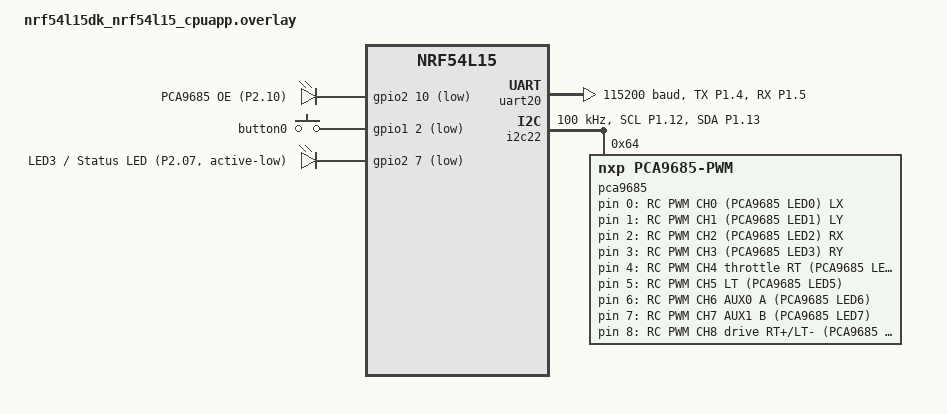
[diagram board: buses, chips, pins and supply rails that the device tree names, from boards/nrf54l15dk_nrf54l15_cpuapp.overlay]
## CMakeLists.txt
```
#
# Copyright (c) 2018 Nordic Semiconductor
#
# SPDX-License-Identifier: LicenseRef-Nordic-5-Clause
#
cmake_minimum_required(VERSION 3.20.0)

find_package(Zephyr REQUIRED HINTS $ENV{ZEPHYR_BASE})
project(esb_prx)

target_include_directories(app PRIVATE ../common)

# PRX keeps local flash so it can rejoin after power-cycle without Hub UART.
target_compile_definitions(app PRIVATE
  ESB_RADIO_SUBTREE=\"esb_prx\"
  ESB_RADIO_MODE=ESB_MODE_PRX
  RC_ESB_RADIO_PERSIST=1
)

target_sources(app PRIVATE
  src/main.c
  src/rc_prx_channels.c
  src/rc_prx_pwm.c
  src/rc_prx_status_led.c
  src/rc_uart_bridge.c
  ../common/rc_link.c
  ../common/rc_channel_bank.c
  ../common/uart_rc_link.c
  ../common/rc_esb_radio.c
  ../common/rc_uart_esb_req_work.c
  ../common/rc_uart_log_fwd.c
  ../common/rc_uart_config_bridge.c
)
```

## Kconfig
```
#
# Copyright (c) 2020 Nordic Semiconductor
#
# SPDX-License-Identifier: LicenseRef-Nordic-5-Clause
#

source "Kconfig.zephyr"

menu "Enhanced ShockBurst: Receiver"

config ESB_PRX_APP_LOG_LEVEL
	int "Log level for the ESB PRX sample"
	default 4

config RC_PCA9685_OSC_HZ
	int "PCA9685 internal oscillator frequency (Hz)"
	default 27700000
	help
	  Datasheet nominal is 25 MHz, but the internal OSC is inaccurate.
	  With the Zephyr driver assuming 25 MHz and a 20 ms period
	  (PRE_SCALE≈122), this board measured ~55 Hz on the scope.
	  Default 27.7 MHz is calibrated so update rate ≈ 50 Hz
	  (55/50 × 25 MHz). Re-measure and adjust if needed:
	  OSC ≈ f_meas × 4096 × (PRE_SCALE + 1).

endmenu
```

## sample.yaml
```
sample:
  name: ESB prx
tests:
  sample.esb.prx.build:
    sysbuild: true
    build_only: true
    integration_platforms:
      - nrf54l15dk/nrf54l15/cpuapp
    platform_allow:
      - nrf54l15dk/nrf54l15/cpuapp
    tags:
      - esb
      - ci_build
      - sysbuild
```

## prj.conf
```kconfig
#
# Copyright (c) 2019 Nordic Semiconductor ASA
#
# SPDX-License-Identifier: LicenseRef-Nordic-5-Clause
#
CONFIG_NCS_SAMPLES_DEFAULTS=y
CONFIG_ESB=y
CONFIG_DK_LIBRARY=y
CONFIG_CLOCK_CONTROL=y

# Required for ESB on nRF54L15 (DPPIC instance 10).
CONFIG_NRFX_DPPI10=y

# Console UART is shared with the Hub RC link (HUART-RC protocol).
CONFIG_UART_INTERRUPT_DRIVEN=y
CONFIG_SETTINGS=y
CONFIG_ZMS=y
CONFIG_SETTINGS_ZMS=y
CONFIG_PM_PARTITION_SIZE_SETTINGS_STORAGE=0x2000
CONFIG_FLASH=y
CONFIG_FLASH_MAP=y
CONFIG_ENTROPY_GENERATOR=y

# Required by rc_uart_log_fwd custom log backend.
CONFIG_LOG_MODE_DEFERRED=y
CONFIG_LOG_OUTPUT=y

# RC servo/ESC PWM via PCA9685 (I2C). Driver selected by DT (nxp,pca9685-pwm).
CONFIG_I2C=y
CONFIG_GPIO=y
CONFIG_PWM=y
# Calibrated for this board (~55 Hz measured when assuming 25 MHz). See Kconfig.
CONFIG_RC_PCA9685_OSC_HZ=27700000

# P1.02/P1.03 default to NFC; release them so Btn1 (pair clear) on P1.02 is a real GPIO.
CONFIG_NFCT_PINS_AS_GPIOS=y
```

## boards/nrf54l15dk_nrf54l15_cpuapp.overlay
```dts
/*
 * SPDX-License-Identifier: LicenseRef-Nordic-5-Clause
 *
 * Console / Hub RC link on uart20: TX/RX only (no hardware flow control).
 * RC PWM via PCA9685 on i2c22 (SCL P1.12, SDA P1.13).
 *
 * PCA9685 address: A2=1 A5=1 → 0x40 | BIT(2) | BIT(5) = 0x64.
 * OE (active-low) on P2.10 — driven low in rc_prx_pwm_init to enable outputs.
 * I2C pins match xbox_central BQ25895 (SCL P1.12, SDA P1.13).
 */

#include <zephyr/dt-bindings/gpio/gpio.h>
#include <zephyr/dt-bindings/i2c/i2c.h>
#include <zephyr/dt-bindings/pwm/pwm.h>

&pinctrl {
	uart20_default: uart20_default {
		group1 {
			psels = <NRF_PSEL(UART_TX, 1, 4)>;
		};

		group2 {
			psels = <NRF_PSEL(UART_RX, 1, 5)>;
			bias-pull-up;
		};
	};

	uart20_sleep: uart20_sleep {
		group1 {
			psels = <NRF_PSEL(UART_TX, 1, 4)>,
				<NRF_PSEL(UART_RX, 1, 5)>;
			low-power-enable;
		};
	};

	i2c22_default: i2c22_default {
		group1 {
			psels = <NRF_PSEL(TWIM_SCL, 1, 12)>,
				<NRF_PSEL(TWIM_SDA, 1, 13)>;
			bias-pull-up;
		};
	};

	i2c22_sleep: i2c22_sleep {
		group1 {
			psels = <NRF_PSEL(TWIM_SCL, 1, 12)>,
				<NRF_PSEL(TWIM_SDA, 1, 13)>;
			low-power-enable;
			bias-pull-up;
		};
	};
};

&uart20 {
	current-speed = <115200>;
	pinctrl-0 = <&uart20_default>;
	pinctrl-1 = <&uart20_sleep>;
	pinctrl-names = "default", "sleep";
};

/* SoC PWM no longer used — outputs come from PCA9685. */
&pwm20 {
	status = "disabled";
};

&pwm21 {
	status = "disabled";
};

&i2c22 {
	status = "okay";
	pinctrl-0 = <&i2c22_default>;
	pinctrl-1 = <&i2c22_sleep>;
	pinctrl-names = "default", "sleep";
	clock-frequency = <I2C_BITRATE_STANDARD>;

	pca9685: pca9685@64 {
		compatible = "nxp,pca9685-pwm";
		reg = <0x64>;
		status = "okay";
		#pwm-cells = <2>;
		/* Init from rc_prx_pwm_init() after DK button pins are remapped. */
		zephyr,deferred-init;
	};
};

/*
 * Pair-clear button on P1.02 (Btn1). DK SW0 defaults to P1.13 (= I2C SDA),
 * so move it here. P1.02 is NFC1 by default — release via &uicr below.
 */
&button0 {
	gpios = <&gpio1 2 (GPIO_PULL_UP | GPIO_ACTIVE_LOW)>;
};

&uicr {
	nfct-pins-as-gpios;
};

/*
 * Override DK LED3 (DT: led2, P2.07): external status LED is active-low.
 */
&led2 {
	gpios = <&gpio2 7 GPIO_ACTIVE_LOW>;
	label = "LED3 / Status LED (P2.07, active-low)";
};

/ {
	aliases {
		pca9685 = &pca9685;
		/* DK LED3 @ P2.07 — system status (idle slow / CTRL fast / pair rapid). */
		status-led = &led2;
	};

	/*
	 * PCA9685 /OE is active-low. gpio-leds + ACTIVE_LOW means
	 * gpio_pin_set_dt(..., 1) drives the pin low (outputs enabled).
	 */
	pca9685_ctrl {
		compatible = "gpio-leds";

		pca9685_oe: pca9685_oe {
			gpios = <&gpio2 10 GPIO_ACTIVE_LOW>;
			label = "PCA9685 OE (P2.10)";
		};
	};

	rc_pwms {
		compatible = "pwm-leds";

		rc_pwm0: rc_pwm_0 {
			pwms = <&pca9685 0 PWM_USEC(20000)>;
			label = "RC PWM CH0 (PCA9685 LED0) LX";
		};

		rc_pwm1: rc_pwm_1 {
			pwms = <&pca9685 1 PWM_USEC(20000)>;
			label = "RC PWM CH1 (PCA9685 LED1) LY";
		};

		rc_pwm2: rc_pwm_2 {
			pwms = <&pca9685 2 PWM_USEC(20000)>;
			label = "RC PWM CH2 (PCA9685 LED2) RX";
		};

		rc_pwm3: rc_pwm_3 {
			pwms = <&pca9685 3 PWM_USEC(20000)>;
			label = "RC PWM CH3 (PCA9685 LED3) RY";
		};

		rc_pwm4: rc_pwm_4 {
			pwms = <&pca9685 4 PWM_USEC(20000)>;
			label = "RC PWM CH4 throttle RT (PCA9685 LED4)";
		};

		rc_pwm5: rc_pwm_5 {
			pwms = <&pca9685 5 PWM_USEC(20000)>;
			label = "RC PWM CH5 LT (PCA9685 LED5)";
		};

		rc_pwm6: rc_pwm_6 {
			pwms = <&pca9685 6 PWM_USEC(20000)>;
			label = "RC PWM CH6 AUX0 A (PCA9685 LED6)";
		};

		rc_pwm7: rc_pwm_7 {
			pwms = <&pca9685 7 PWM_USEC(20000)>;
			label = "RC PWM CH7 AUX1 B (PCA9685 LED7)";
		};

		rc_pwm8: rc_pwm_8 {
			pwms = <&pca9685 8 PWM_USEC(20000)>;
			label = "RC PWM CH8 drive RT+/LT- (PCA9685 LED8)";
		};
	};
};
```

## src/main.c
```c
/*
 * Copyright (c) 2018 Nordic Semiconductor ASA
 *
 * SPDX-License-Identifier: LicenseRef-Nordic-5-Clause
 */
#include <string.h>

#include <zephyr/device.h>
#include <zephyr/devicetree.h>
#include <zephyr/drivers/clock_control.h>
#include <zephyr/drivers/clock_control/nrf_clock_control.h>
#include <zephyr/drivers/gpio.h>
#include <zephyr/irq.h>
#include <zephyr/logging/log.h>
#include <nrf.h>
#include <esb.h>
#include <zephyr/kernel.h>
#include <zephyr/types.h>
#include <dk_buttons_and_leds.h>
#if defined(CONFIG_CLOCK_CONTROL_NRF2)
#include <hal/nrf_lrcconf.h>
#endif
#include <nrf_erratas.h>
#if NRF54L_ERRATA_20_PRESENT
#include <hal/nrf_power.h>
#endif /* NRF54L_ERRATA_20_PRESENT */
#if defined(NRF54LM20A_ENGA_XXAA)
#include <hal/nrf_clock.h>
#endif /* defined(NRF54LM20A_ENGA_XXAA) */

#include "rc_channel_bank.h"
#include "rc_esb_radio.h"
#include "rc_link.h"
#include "rc_prx_channels.h"
#include "rc_prx_pwm.h"
#include "rc_prx_status_led.h"
#include "rc_uart_bridge.h"

LOG_MODULE_REGISTER(esb_prx, CONFIG_ESB_PRX_APP_LOG_LEVEL);

#define KEY_RADIO_CLEAR            DK_BTN1_MSK
#define RADIO_CLEAR_HOLD_TIME_MS  5000

static uint8_t status_seq;
static uint8_t last_ctrl_seq;
static uint8_t peer_ctrl_channels;
static bool pairing_mode;
static bool radio_clear_armed;
static bool last_ctrl_valid;
static uint8_t last_ctrl_count;
static uint16_t last_ctrl_channels[RC_LINK_MAX_CHANNELS];
static struct k_work_delayable radio_clear_work;
static struct k_work_delayable pair_apply_work;
static struct rc_link_pair_payload pending_pair_payload;
static bool pending_pair_valid;
static struct esb_payload rx_payload;
static struct esb_payload tx_payload;
static struct rc_link_frame status_frame;

/* Leave enough time for ESB ACK on the default address before switching. */
#define PAIR_APPLY_DELAY_MS 100

static void pairing_mode_set(bool enable)
{
	if (pairing_mode == enable) {
		return;
	}

	pairing_mode = enable;
	rc_prx_status_led_set_pairing(enable);
	if (enable) {
		LOG_INF("Pair mode ON — status LED rapid blink");
	}
}

static int queue_status_payload(void)
{
	int err;
	int len;

	err = rc_link_frame_fill(&status_frame, RC_LINK_TYPE_STATUS, status_seq++,
				 RC_STATUS_FLAG_ARMED, &rc_prx_status_bank);
	if (err) {
		return err;
	}

	len = rc_link_pack(&status_frame, tx_payload.data, sizeof(tx_payload.data));
	if (len < 0) {
		return len;
	}

	tx_payload.length = (uint8_t)len;
	tx_payload.pipe = RC_LINK_PIPE;
	tx_payload.noack = false;

	err = esb_write_payload(&tx_payload);
	if (err) {
		LOG_ERR("Status payload write failed: %d", err);
	}

	return err;
}

static void pair_apply_work_handler(struct k_work *work)
{
	int err;

	ARG_UNUSED(work);

	if (!pending_pair_valid) {
		return;
	}

	pending_pair_valid = false;
	err = rc_esb_radio_apply_pair_payload(&pending_pair_payload, true);
	if (err != 0) {
		LOG_ERR("Pair apply/save failed: %d", err);
		pairing_mode_set(true);
		return;
	}

	pairing_mode_set(false);
	LOG_WRN("Paired from first valid pair frame and saved");
}

static void handle_pair_frame(const struct rc_link_frame *frame)
{
	struct rc_link_pair_payload pair_payload;
	int err;

	if (!pairing_mode) {
		LOG_DBG("Ignore PAIR (not in pair mode)");
		return;
	}

	err = rc_link_pair_decode(frame, &pair_payload);
	if (err != 0) {
		LOG_DBG("Ignore invalid pair frame: %d", err);
		return;
	}

	/*
	 * Delay address switch so the ESB ACK for this PAIR frame completes on
	 * the default listen address. k_work_submit was ~1ms and broke PTX ACK.
	 */
	if (pending_pair_valid) {
		return;
	}

	pending_pair_payload = pair_payload;
	pending_pair_valid = true;
	pairing_mode_set(false);
	LOG_WRN("PAIR frame RX — apply in %d ms (after ACK)", PAIR_APPLY_DELAY_MS);
	(void)k_work_schedule(&pair_apply_work, K_MSEC(PAIR_APPLY_DELAY_MS));
}

static bool ctrl_channels_changed(const struct rc_link_frame *ctrl)
{
	uint8_t count = ctrl->channel_count;

	if (count > RC_LINK_MAX_CHANNELS) {
		count = RC_LINK_MAX_CHANNELS;
	}

	if (!last_ctrl_valid || last_ctrl_count != count) {
		return true;
	}

	return memcmp(last_ctrl_channels, ctrl->channels,
		      (size_t)count * sizeof(uint16_t)) != 0;
}

static void remember_ctrl_channels(const struct rc_link_frame *ctrl)
{
	uint8_t count = ctrl->channel_count;

	if (count > RC_LINK_MAX_CHANNELS) {
		count = RC_LINK_MAX_CHANNELS;
	}

	last_ctrl_count = count;
	memcpy(last_ctrl_channels, ctrl->channels, (size_t)count * sizeof(uint16_t));
	last_ctrl_valid = true;
}

static void handle_ctrl_frame(const struct rc_link_frame *ctrl)
{
	bool changed;

	if (ctrl->type != RC_LINK_TYPE_CTRL) {
		return;
	}

	last_ctrl_seq = ctrl->seq;

	if (peer_ctrl_channels != ctrl->channel_count) {
		peer_ctrl_channels = ctrl->channel_count;
		LOG_INF("Controller channel count: %u", peer_ctrl_channels);
	}

	rc_link_log_channels("Control", ctrl);
	rc_prx_pwm_apply_ctrl(ctrl);

	/*
	 * Keepalive (same channels) → solid idle LED.
	 * Channel change → brief flash once per active frame.
	 */
	changed = ctrl_channels_changed(ctrl);
	remember_ctrl_channels(ctrl);
	rc_prx_status_led_on_link();
	if (changed) {
		rc_prx_status_led_on_activity();
	}
}

static void handle_rx_frame(const struct esb_payload *payload)
{
	struct rc_link_frame frame;
	int err;

	err = rc_link_unpack(payload->data, payload->length, &frame);
	if (err != 0) {
		LOG_DBG("Ignore invalid RX frame: %d", err);
		return;
	}

	if (frame.type == RC_LINK_TYPE_PAIR) {
		handle_pair_frame(&frame);
		return;
	}

	handle_ctrl_frame(&frame);
}

static void radio_clear_work_handler(struct k_work *work)
{
	int err;
	ARG_UNUSED(work);

	radio_clear_armed = false;

	err = rc_esb_radio_clear_saved_config();
	if (err != 0) {
		LOG_ERR("Radio config clear failed: %d", err);
		return;
	}

	pairing_mode_set(true);
	LOG_INF("Radio config cleared, re-enter pair mode");
}

static void button_handler(uint32_t button_state, uint32_t has_changed)
{
	uint32_t changed = button_state & has_changed;

	if ((changed & KEY_RADIO_CLEAR) == 0U) {
		return;
	}

		if ((button_state & KEY_RADIO_CLEAR) != 0U) {
		radio_clear_armed = true;
		k_work_schedule(&radio_clear_work, K_MSEC(RADIO_CLEAR_HOLD_TIME_MS));
		LOG_INF("Hold Btn1 (P1.02) 5s to clear radio config");
	} else {
		radio_clear_armed = false;
		(void)k_work_cancel_delayable(&radio_clear_work);
	}
}

void event_handler(struct esb_evt const *event)
{
	switch (event->evt_id) {
	case ESB_EVENT_TX_SUCCESS:
		(void)queue_status_payload();
		break;
	case ESB_EVENT_TX_FAILED:
		LOG_DBG("ACK with status failed");
		break;
	case ESB_EVENT_RX_RECEIVED:
		while (esb_read_rx_payload(&rx_payload) == 0) {
			handle_rx_frame(&rx_payload);
		}
		break;
	default:
		break;
	}
}

#if defined(CONFIG_CLOCK_CONTROL_NRF)
int clocks_start(void)
{
	int err;
	int res;
	struct onoff_manager *clk_mgr;
	struct onoff_client clk_cli;

	clk_mgr = z_nrf_clock_control_get_onoff(CLOCK_CONTROL_NRF_SUBSYS_HF);
	if (!clk_mgr) {
		LOG_ERR("Unable to get the Clock manager");
		return -ENXIO;
	}

	sys_notify_init_spinwait(&clk_cli.notify);

	err = onoff_request(clk_mgr, &clk_cli);
	if (err < 0) {
		LOG_ERR("Clock request failed: %d", err);
		return err;
	}

	do {
		err = sys_notify_fetch_result(&clk_cli.notify, &res);
		if (!err && res) {
			LOG_ERR("Clock could not be started: %d", res);
			return res;
		}
	} while (err);

#if NRF54L_ERRATA_20_PRESENT
	if (nrf54l_errata_20()) {
		nrf_power_task_trigger(NRF_POWER, NRF_POWER_TASK_CONSTLAT);
	}
#endif /* NRF54L_ERRATA_20_PRESENT */

#if defined(NRF54LM20A_ENGA_XXAA)
	nrf_clock_task_trigger(NRF_CLOCK, NRF_CLOCK_TASK_PLLSTART);
#endif

	LOG_DBG("HF clock started");
	return 0;
}

#elif defined(CONFIG_CLOCK_CONTROL_NRF2)

int clocks_start(void)
{
	int err;
	int res;
	const struct device *radio_clk_dev =
		DEVICE_DT_GET_OR_NULL(DT_CLOCKS_CTLR(DT_NODELABEL(radio)));
	struct onoff_client radio_cli;

	nrf_lrcconf_poweron_force_set(NRF_LRCCONF010, NRF_LRCCONF_POWER_DOMAIN_1, true);

	sys_notify_init_spinwait(&radio_cli.notify);

	err = nrf_clock_control_request(radio_clk_dev, NULL, &radio_cli);

	do {
		err = sys_notify_fetch_result(&radio_cli.notify, &res);
		if (!err && res) {
			LOG_ERR("Clock could not be started: %d", res);
			return res;
		}
	} while (err == -EAGAIN);

	nrf_lrcconf_clock_always_run_force_set(NRF_LRCCONF000, 0, true);
	nrf_lrcconf_task_trigger(NRF_LRCCONF000, NRF_LRCCONF_TASK_CLKSTART_0);

	LOG_DBG("HF clock started");

	return 0;
}

#else
BUILD_ASSERT(false, "No Clock Control driver");
#endif /* defined(CONFIG_CLOCK_CONTROL_NRF2) */

int esb_initialize(void)
{
	return rc_esb_radio_init(event_handler);
}

static void on_radio_applied(void)
{
	(void)queue_status_payload();
}

int main(void)
{
	int err;

	LOG_INF("ESB receiver with bidirectional telemetry");

	rc_prx_channels_bind_ctrl_seq(&last_ctrl_seq);
	rc_esb_radio_set_applied_cb(on_radio_applied);

	err = clocks_start();
	if (err) {
		return 0;
	}

	err = dk_leds_init();
	if (err) {
		LOG_ERR("LEDs initialization failed, err %d", err);
		return 0;
	}

	err = rc_prx_status_led_init();
	if (err) {
		LOG_WRN("status LED init failed: %d", err);
	}

	k_work_init_delayable(&radio_clear_work, radio_clear_work_handler);
	k_work_init_delayable(&pair_apply_work, pair_apply_work_handler);
	radio_clear_armed = false;
	dk_buttons_init(button_handler);

	err = esb_initialize();
	if (err) {
		LOG_ERR("ESB initialization failed, err %d", err);
		return 0;
	}
	if (!rc_esb_radio_has_saved_config()) {
		pairing_mode_set(true);
		LOG_WRN("No saved radio config — pair mode ON (waiting ESB PAIR)");
	} else {
		pairing_mode = false;
		LOG_WRN("Saved radio config loaded — pair mode OFF (hold Btn1/P1.02 5s to clear)");
	}

	err = rc_uart_bridge_init();
	if (err) {
		LOG_ERR("UART bridge init failed, err %d", err);
		return 0;
	}

	err = rc_prx_pwm_init();
	if (err) {
		LOG_ERR("RC PWM init failed, err %d (ESB continues without PWM)", err);
	}

	LOG_INF("Local status sources: %u (max)", (unsigned int)rc_prx_status_bank.slot_count);
	LOG_INF("Listening for control frames");

	return 0;
}
```

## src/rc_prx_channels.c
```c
/*
 * Copyright (c) 2026
 *
 * SPDX-License-Identifier: LicenseRef-Nordic-5-Clause
 */

#include "rc_prx_channels.h"

#include <zephyr/kernel.h>
#include <zephyr/sys/util.h>

static uint8_t *ctrl_seq_ref;

static int read_battery_mv(void *ctx, uint16_t *value)
{
	uint32_t uptime_s = (uint32_t)(k_uptime_get() / 1000U);

	ARG_UNUSED(ctx);
	*value = (uint16_t)(4200U - (uptime_s % 300U));
	return 0;
}

static int read_altitude_dm(void *ctx, uint16_t *value)
{
	uint32_t uptime_s = (uint32_t)(k_uptime_get() / 1000U);

	ARG_UNUSED(ctx);
	*value = (uint16_t)(100U + (uptime_s % 50U));
	return 0;
}

static int read_speed_dmps(void *ctx, uint16_t *value)
{
	uint32_t uptime_s = (uint32_t)(k_uptime_get() / 1000U);

	ARG_UNUSED(ctx);
	*value = (uint16_t)(80U + (uptime_s % 20U));
	return 0;
}

static int read_rx_ctrl_seq(void *ctx, uint16_t *value)
{
	ARG_UNUSED(ctx);
	*value = ctrl_seq_ref ? *ctrl_seq_ref : 0U;
	return 0;
}

static bool gps_available(void *ctx)
{
	uint32_t uptime_s = (uint32_t)(k_uptime_get() / 1000U);

	ARG_UNUSED(ctx);
	/* Demo optional channel: available after 30 s uptime. */
	return uptime_s >= 30U;
}

static int read_gps_satellites(void *ctx, uint16_t *value)
{
	uint32_t uptime_s = (uint32_t)(k_uptime_get() / 1000U);

	ARG_UNUSED(ctx);
	*value = (uint16_t)(6U + (uptime_s % 4U));
	return 0;
}

static const struct rc_channel_slot prx_slots[] = {
	{ read_battery_mv, NULL, NULL },
	{ read_altitude_dm, NULL, NULL },
	{ read_speed_dmps, NULL, NULL },
	{ read_rx_ctrl_seq, NULL, NULL },
	{ read_gps_satellites, gps_available, NULL },
};

const struct rc_channel_bank rc_prx_status_bank = {
	.slots = prx_slots,
	.slot_count = ARRAY_SIZE(prx_slots),
};

void rc_prx_channels_bind_ctrl_seq(uint8_t *seq)
{
	ctrl_seq_ref = seq;
}
```

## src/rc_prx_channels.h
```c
/*
 * Copyright (c) 2026
 *
 * SPDX-License-Identifier: LicenseRef-Nordic-5-Clause
 */

#ifndef RC_PRX_CHANNELS_H_
#define RC_PRX_CHANNELS_H_

#include <stdint.h>

#include "rc_channel_bank.h"

extern const struct rc_channel_bank rc_prx_status_bank;

void rc_prx_channels_bind_ctrl_seq(uint8_t *seq);

#endif /* RC_PRX_CHANNELS_H_ */
```

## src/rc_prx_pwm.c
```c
/*
 * SPDX-License-Identifier: LicenseRef-Nordic-5-Clause
 */
#include "rc_prx_pwm.h"

#include <string.h>

#include <zephyr/device.h>
#include <zephyr/devicetree.h>
#include <zephyr/drivers/gpio.h>
#include <zephyr/drivers/i2c.h>
#include <zephyr/drivers/pwm.h>
#include <zephyr/kernel.h>
#include <zephyr/logging/log.h>
#include <zephyr/sys/util.h>

#include "uart_rc_link.h"

LOG_MODULE_REGISTER(rc_prx_pwm, CONFIG_ESB_PRX_APP_LOG_LEVEL);

#define RC_PWM_HZ           50U
#define RC_PWM_PERIOD_NS    PWM_USEC(20000)
#define RC_PWM_PULSE_MIN_NS PWM_USEC(1000)
#define RC_PWM_PULSE_MAX_NS PWM_USEC(2000)
#define RC_PWM_VALUE_MAX    1000U
#define RC_PWM_FAILSAFE_MS  500U

#define PCA9685_NODE          DT_NODELABEL(pca9685)
#define PCA9685_INIT_RETRIES  5
#define PCA9685_INIT_RETRY_MS 20
#define PCA9685_REG_PRE_SCALE 0xFE
#define PCA9685_PWM_STEPS     4096U
#define PCA9685_PRESCALE_MIN  0x03
#define PCA9685_PRESCALE_MAX  0xFF

/*
 * PWM output i reads CTRL channel pwm_ctrl_index[i] via PCA9685 LEDi.
 * CH4 = RT, CH5 = LT (raw triggers); CH6–7 = A/B; CH8 = LT/RT combined drive.
 */
static const uint8_t pwm_ctrl_index[RC_PRX_PWM_CHANNEL_COUNT] = {
	UART_RC_CH_LX,
	UART_RC_CH_LY,
	UART_RC_CH_RX,
	UART_RC_CH_RY,
	UART_RC_CH_RT,
	UART_RC_CH_LT,
	UART_RC_CH_AUX0,
	UART_RC_CH_AUX1,
	UART_RC_CH_AUX2,
};

/* Sticks/drive center; throttle/LT/aux switches failsafe low. */
static const uint16_t failsafe_values[RC_PRX_PWM_CHANNEL_COUNT] = {
	500U, 500U, 500U, 500U, 0U, 0U, 0U, 0U, 500U,
};

static const struct pwm_dt_spec rc_pwms[RC_PRX_PWM_CHANNEL_COUNT] = {
	PWM_DT_SPEC_GET(DT_NODELABEL(rc_pwm0)),
	PWM_DT_SPEC_GET(DT_NODELABEL(rc_pwm1)),
	PWM_DT_SPEC_GET(DT_NODELABEL(rc_pwm2)),
	PWM_DT_SPEC_GET(DT_NODELABEL(rc_pwm3)),
	PWM_DT_SPEC_GET(DT_NODELABEL(rc_pwm4)),
	PWM_DT_SPEC_GET(DT_NODELABEL(rc_pwm5)),
	PWM_DT_SPEC_GET(DT_NODELABEL(rc_pwm6)),
	PWM_DT_SPEC_GET(DT_NODELABEL(rc_pwm7)),
	PWM_DT_SPEC_GET(DT_NODELABEL(rc_pwm8)),
};

/* PCA9685 /OE is active-low (DT GPIO_ACTIVE_LOW). */
static const struct gpio_dt_spec pca9685_oe = GPIO_DT_SPEC_GET(DT_NODELABEL(pca9685_oe), gpios);

static const struct device *const pca9685_dev = DEVICE_DT_GET(PCA9685_NODE);
static const struct i2c_dt_spec pca9685_i2c = I2C_DT_SPEC_GET(PCA9685_NODE);

static struct k_work_delayable failsafe_work;
static struct k_work pwm_apply_work;
static bool pwm_ready;
static uint32_t pca_period_count;
static uint8_t pca_prescale;

/* Latest CTRL snapshot — filled from ESB ISR, applied on system workqueue. */
static uint16_t pending_channels[RC_LINK_MAX_CHANNELS];
static uint8_t pending_channel_count;

static uint32_t value_to_pulse_ns(uint16_t value)
{
	uint32_t span = RC_PWM_PULSE_MAX_NS - RC_PWM_PULSE_MIN_NS;

	if (value > RC_PWM_VALUE_MAX) {
		value = RC_PWM_VALUE_MAX;
	}

	return RC_PWM_PULSE_MIN_NS + ((span * (uint32_t)value) / RC_PWM_VALUE_MAX);
}

/*
 * Sticks arrive as 0..1000. Xbox triggers are still raw 10-bit (0..1023)
 * from the Hub — normalize them here before PWM mapping.
 */
static uint16_t normalize_ctrl_value(uint8_t ctrl_index, uint16_t value)
{
	if (ctrl_index == UART_RC_CH_LT || ctrl_index == UART_RC_CH_RT) {
		if (value > 1023U) {
			value = 1023U;
		}
		return (uint16_t)((value * RC_PWM_VALUE_MAX) / 1023U);
	}

	if (value > RC_PWM_VALUE_MAX) {
		value = RC_PWM_VALUE_MAX;
	}
	return value;
}

static void set_pwm(uint8_t index, uint16_t value)
{
	int err;
	uint32_t pulse_ns;
	uint32_t pulse_count;

	if (index >= RC_PRX_PWM_CHANNEL_COUNT || !pwm_ready || pca_period_count == 0U) {
		return;
	}

	/*
	 * Use pwm_set_cycles with a period_count that matches the calibrated
	 * PRE_SCALE. Do not use pwm_set()/pwm_set_dt() — those assume the
	 * driver's hardcoded 25 MHz OSC and produced ~55 Hz on this board.
	 */
	pulse_ns = value_to_pulse_ns(value);
	pulse_count = (uint32_t)(((uint64_t)pulse_ns * pca_period_count) /
				 RC_PWM_PERIOD_NS);
	err = pwm_set_cycles(rc_pwms[index].dev, rc_pwms[index].channel,
			     pca_period_count, pulse_count, rc_pwms[index].flags);
	if (err != 0) {
		LOG_DBG("PWM%u set failed: %d", index, err);
	}
}

static void apply_failsafe(void)
{
	for (uint8_t i = 0; i < RC_PRX_PWM_CHANNEL_COUNT; i++) {
		set_pwm(i, failsafe_values[i]);
	}
}

static void apply_ctrl_channels(const uint16_t *channels, uint8_t count)
{
	for (uint8_t i = 0; i < RC_PRX_PWM_CHANNEL_COUNT; i++) {
		uint8_t src = pwm_ctrl_index[i];

		if (src < count) {
			set_pwm(i, normalize_ctrl_value(src, channels[src]));
		} else {
			set_pwm(i, failsafe_values[i]);
		}
	}
}

static void failsafe_work_handler(struct k_work *work)
{
	ARG_UNUSED(work);
	LOG_WRN("CTRL timeout — PWM failsafe");
	apply_failsafe();
}

static void pwm_apply_work_handler(struct k_work *work)
{
	uint16_t channels[RC_LINK_MAX_CHANNELS];
	uint8_t count;
	unsigned int key;

	ARG_UNUSED(work);

	if (!pwm_ready) {
		return;
	}

	key = irq_lock();
	count = pending_channel_count;
	if (count > RC_LINK_MAX_CHANNELS) {
		count = RC_LINK_MAX_CHANNELS;
	}
	memcpy(channels, pending_channels, (size_t)count * sizeof(uint16_t));
	irq_unlock(key);

	apply_ctrl_channels(channels, count);
	(void)k_work_reschedule(&failsafe_work, K_MSEC(RC_PWM_FAILSAFE_MS));
}

static void pca9685_i2c_scan(void)
{
	uint8_t dst;
	int found = 0;

	if (!i2c_is_ready_dt(&pca9685_i2c)) {
		LOG_ERR("I2C bus not ready for PCA9685 scan");
		return;
	}

	LOG_ERR("I2C scan 0x40..0x70 on %s (expect PCA9685 @ 0x%02x):",
		pca9685_i2c.bus->name, pca9685_i2c.addr);
	for (uint16_t addr = 0x40; addr <= 0x70; addr++) {
		if (i2c_read(pca9685_i2c.bus, &dst, 1, addr) == 0) {
			LOG_ERR("  ACK at 0x%02x", addr);
			found++;
		}
	}
	if (found == 0) {
		LOG_ERR("  (no ACK — check VCC/GND, SCL=P1.12 SDA=P1.13, A2+A5→0x64)");
	}
}

static int pca9685_bringup(void)
{
	int err = -ENODEV;

	for (int i = 0; i < PCA9685_INIT_RETRIES; i++) {
		if (device_is_ready(pca9685_dev)) {
			return 0;
		}

		err = device_init(pca9685_dev);
		if (err == 0 && device_is_ready(pca9685_dev)) {
			return 0;
		}

		LOG_WRN("PCA9685 init attempt %d/%d failed: %d", i + 1,
			PCA9685_INIT_RETRIES, err);
		k_msleep(PCA9685_INIT_RETRY_MS);
	}

	return err != 0 ? err : -ENODEV;
}

/*
 * Datasheet 7.3.5: update_rate = OSC / (4096 × (PRE_SCALE + 1)).
 * Program PRE_SCALE from the calibrated OSC (CONFIG_RC_PCA9685_OSC_HZ).
 */
static int pca9685_configure_rate(uint32_t hz)
{
	uint64_t osc = (uint64_t)CONFIG_RC_PCA9685_OSC_HZ;
	uint64_t denom = (uint64_t)PCA9685_PWM_STEPS * hz;
	uint32_t prescale;
	uint8_t reg = PCA9685_REG_PRE_SCALE;
	uint8_t rb = 0;
	uint32_t expect_hz;
	int err;

	if (hz == 0U || denom == 0U) {
		return -EINVAL;
	}

	/* prescale = round(osc / (4096 * hz)) - 1 */
	prescale = (uint32_t)((osc + denom / 2ULL) / denom);
	if (prescale < (PCA9685_PRESCALE_MIN + 1U)) {
		return -EINVAL;
	}
	prescale -= 1U;
	if (prescale > PCA9685_PRESCALE_MAX) {
		return -EINVAL;
	}

	pca_prescale = (uint8_t)prescale;
	pca_period_count = PCA9685_PWM_STEPS * (prescale + 1U);

	err = pwm_set_cycles(pca9685_dev, 0, pca_period_count, 0, 0);
	if (err != 0) {
		LOG_ERR("PCA9685 rate set failed: %d", err);
		return err;
	}

	err = i2c_write_read_dt(&pca9685_i2c, &reg, 1, &rb, 1);
	if (err != 0) {
		LOG_WRN("PCA9685 PRE_SCALE readback failed: %d", err);
	} else if (rb != pca_prescale) {
		LOG_WRN("PCA9685 PRE_SCALE=0x%02x (wrote 0x%02x)", rb, pca_prescale);
	}

	expect_hz = (uint32_t)(osc / ((uint64_t)PCA9685_PWM_STEPS * (pca_prescale + 1U)));
	LOG_INF("PCA9685 PRE_SCALE=%u osc=%u Hz → expect ~%u Hz (target %u)",
		pca_prescale, CONFIG_RC_PCA9685_OSC_HZ, expect_hz, hz);
	return 0;
}

int rc_prx_pwm_init(void)
{
	int err;

	if (!gpio_is_ready_dt(&pca9685_oe)) {
		LOG_ERR("PCA9685 OE GPIO not ready");
		return -ENODEV;
	}

	/* Enable outputs (OE active-low) before talking to the chip. */
	err = gpio_pin_configure_dt(&pca9685_oe, GPIO_OUTPUT_ACTIVE);
	if (err != 0) {
		LOG_ERR("PCA9685 OE configure failed: %d", err);
		return err;
	}

	err = pca9685_bringup();
	if (err != 0) {
		LOG_ERR("PCA9685 device init failed: %d", err);
		pca9685_i2c_scan();
		return err;
	}

	for (uint8_t i = 0; i < RC_PRX_PWM_CHANNEL_COUNT; i++) {
		if (!pwm_is_ready_dt(&rc_pwms[i])) {
			LOG_ERR("PWM%u device not ready", i);
			return -ENODEV;
		}
	}

	err = pca9685_configure_rate(RC_PWM_HZ);
	if (err != 0) {
		return err;
	}

	k_work_init_delayable(&failsafe_work, failsafe_work_handler);
	k_work_init(&pwm_apply_work, pwm_apply_work_handler);
	pwm_ready = true;
	apply_failsafe();
	LOG_INF("RC PWM ready: PCA9685@0x%02x %u ch @ %u Hz (OE=P2.10, CH4=RT)",
		pca9685_i2c.addr, RC_PRX_PWM_CHANNEL_COUNT, RC_PWM_HZ);
	return 0;
}

void rc_prx_pwm_apply_ctrl(const struct rc_link_frame *ctrl)
{
	uint8_t count;
	unsigned int key;

	if (ctrl == NULL || !pwm_ready) {
		return;
	}

	count = ctrl->channel_count;
	if (count > RC_LINK_MAX_CHANNELS) {
		count = RC_LINK_MAX_CHANNELS;
	}

	/*
	 * ESB RX runs in ISR; PCA9685 pwm_set uses I2C (k_sem_take) and must
	 * not run here — snapshot and defer to the system workqueue.
	 */
	key = irq_lock();
	pending_channel_count = count;
	memcpy(pending_channels, ctrl->channels, (size_t)count * sizeof(uint16_t));
	irq_unlock(key);

	(void)k_work_submit(&pwm_apply_work);
}
```

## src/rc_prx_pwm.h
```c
/*
 * SPDX-License-Identifier: LicenseRef-Nordic-5-Clause
 *
 * Map the first N control channels to RC-style PWM outputs (50 Hz).
 */
#ifndef RC_PRX_PWM_H_
#define RC_PRX_PWM_H_

#include <stdint.h>

#include "rc_link.h"

#define RC_PRX_PWM_CHANNEL_COUNT 9U

int rc_prx_pwm_init(void);

/**
 * Queue PWM update from a CTRL frame (ISR-safe).
 * Actual I2C/PCA9685 writes run on the system workqueue.
 */
void rc_prx_pwm_apply_ctrl(const struct rc_link_frame *ctrl);

#endif /* RC_PRX_PWM_H_ */
```

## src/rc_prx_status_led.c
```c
/*
 * SPDX-License-Identifier: LicenseRef-Nordic-5-Clause
 */

#include "rc_prx_status_led.h"

#include <errno.h>

#include <zephyr/device.h>
#include <zephyr/devicetree.h>
#include <zephyr/drivers/gpio.h>
#include <zephyr/kernel.h>
#include <zephyr/logging/log.h>

LOG_MODULE_REGISTER(rc_prx_status_led, CONFIG_ESB_PRX_APP_LOG_LEVEL);

#if DT_NODE_EXISTS(DT_ALIAS(status_led))
#define STATUS_LED_NODE DT_ALIAS(status_led)
static const struct gpio_dt_spec status_led = GPIO_DT_SPEC_GET(STATUS_LED_NODE, gpios);
#define STATUS_LED_AVAILABLE 1
#else
#define STATUS_LED_AVAILABLE 0
#endif

#define LINK_PERIOD_MS       2000U /* 1000 ms on / 1000 ms off → 0.5 Hz */
#define PAIRING_PERIOD_MS     160U /* 80 ms on / 80 ms off */
#define ACTIVITY_FLASH_MS      80U /* single flash on channel change */
/*
 * After the last CTRL (incl. keepalive), wait this long then LED off.
 * Must be > Hub/PTX CTRL period (~100 ms).
 */
#define LINK_LOST_TIMEOUT_MS  500U

enum status_led_mode {
	STATUS_LED_OFF = 0,   /* boot / lost — no CTRL */
	STATUS_LED_LINK,      /* CTRL alive (keepalive) — slow blink */
	STATUS_LED_FLASH,     /* one-shot activity flash */
	STATUS_LED_PAIRING,
};

static enum status_led_mode mode = STATUS_LED_OFF;
static bool led_on;
static bool pairing_active;
static struct k_work_delayable blink_work;
static struct k_work_delayable lost_work;
static struct k_work_delayable flash_work;

static uint32_t period_for_mode(enum status_led_mode m)
{
	switch (m) {
	case STATUS_LED_PAIRING:
		return PAIRING_PERIOD_MS;
	case STATUS_LED_LINK:
		return LINK_PERIOD_MS;
	case STATUS_LED_OFF:
	case STATUS_LED_FLASH:
	default:
		return 0U;
	}
}

static void led_apply(bool on)
{
#if STATUS_LED_AVAILABLE
	(void)gpio_pin_set_dt(&status_led, on ? 1 : 0);
#else
	ARG_UNUSED(on);
#endif
	led_on = on;
}

static void apply_mode(enum status_led_mode next)
{
	uint32_t period;

	mode = next;
	(void)k_work_cancel_delayable(&blink_work);

	if (next == STATUS_LED_FLASH) {
		led_apply(true);
		return;
	}

	period = period_for_mode(mode);
	if (period == 0U) {
		led_apply(false);
		return;
	}

	led_apply(true);
	(void)k_work_reschedule(&blink_work, K_MSEC(period / 2U));
}

static void blink_work_handler(struct k_work *work)
{
	uint32_t period;

	ARG_UNUSED(work);

	period = period_for_mode(mode);
	if (period == 0U) {
		led_apply(false);
		return;
	}

	led_apply(!led_on);
	(void)k_work_reschedule(&blink_work, K_MSEC(period / 2U));
}

static void lost_work_handler(struct k_work *work)
{
	ARG_UNUSED(work);

	if (pairing_active) {
		return;
	}

	(void)k_work_cancel_delayable(&flash_work);
	apply_mode(STATUS_LED_OFF);
}

static void flash_work_handler(struct k_work *work)
{
	ARG_UNUSED(work);

	if (pairing_active) {
		return;
	}

	if (mode != STATUS_LED_FLASH) {
		return;
	}

	/* Resume link slow blink while CTRL keepalive continues. */
	apply_mode(STATUS_LED_LINK);
}

int rc_prx_status_led_init(void)
{
#if !STATUS_LED_AVAILABLE
	LOG_WRN("status-led alias missing — status LED disabled");
	return -ENOENT;
#else
	int err;

	if (!gpio_is_ready_dt(&status_led)) {
		LOG_ERR("status-led GPIO not ready");
		return -ENODEV;
	}

	err = gpio_pin_configure_dt(&status_led, GPIO_OUTPUT_INACTIVE);
	if (err) {
		LOG_ERR("status-led configure failed: %d", err);
		return err;
	}

	k_work_init_delayable(&blink_work, blink_work_handler);
	k_work_init_delayable(&lost_work, lost_work_handler);
	k_work_init_delayable(&flash_work, flash_work_handler);
	pairing_active = false;
	/* No link yet — off until CTRL arrives (Hub off must not look "idle"). */
	apply_mode(STATUS_LED_OFF);
	LOG_INF("status LED — link 0.5 Hz / activity flash / lost off");
	return 0;
#endif
}

void rc_prx_status_led_on_link(void)
{
#if !STATUS_LED_AVAILABLE
	return;
#else
	if (pairing_active) {
		return;
	}

	(void)k_work_reschedule(&lost_work, K_MSEC(LINK_LOST_TIMEOUT_MS));

	/* Keepalive: slow blink only; do not interrupt an activity flash. */
	if (mode == STATUS_LED_OFF) {
		apply_mode(STATUS_LED_LINK);
	}
#endif
}

void rc_prx_status_led_on_activity(void)
{
#if !STATUS_LED_AVAILABLE
	return;
#else
	if (pairing_active) {
		return;
	}

	(void)k_work_reschedule(&lost_work, K_MSEC(LINK_LOST_TIMEOUT_MS));
	(void)k_work_cancel_delayable(&blink_work);
	apply_mode(STATUS_LED_FLASH);
	(void)k_work_reschedule(&flash_work, K_MSEC(ACTIVITY_FLASH_MS));
#endif
}

void rc_prx_status_led_set_pairing(bool pairing)
{
#if !STATUS_LED_AVAILABLE
	ARG_UNUSED(pairing);
	return;
#else
	pairing_active = pairing;
	(void)k_work_cancel_delayable(&lost_work);
	(void)k_work_cancel_delayable(&flash_work);

	if (pairing) {
		apply_mode(STATUS_LED_PAIRING);
		return;
	}
	apply_mode(STATUS_LED_OFF);
#endif
}
```

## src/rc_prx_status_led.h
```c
/*
 * SPDX-License-Identifier: LicenseRef-Nordic-5-Clause
 *
 * Status LED on DT alias status-led (P2.07):
 *   lost      — 1 Hz blink (no CTRL / boot)
 *   idle      — solid on (CTRL keepalive, channels unchanged)
 *   activity  — brief off pulse per active CTRL frame, then idle solid
 *   pairing   — rapid blink
 */

#ifndef RC_PRX_STATUS_LED_H_
#define RC_PRX_STATUS_LED_H_

#include <stdbool.h>

int rc_prx_status_led_init(void);

/**
 * ISR-safe: any CTRL RX (incl. keepalive).
 * Solid on while linked; refreshes lost timer. Does not flash.
 */
void rc_prx_status_led_on_link(void);

/**
 * ISR-safe: CTRL with channel-value change — flash once (brief off), then solid.
 */
void rc_prx_status_led_on_activity(void);

/** Pair-mode indication (highest priority). */
void rc_prx_status_led_set_pairing(bool pairing);

#endif /* RC_PRX_STATUS_LED_H_ */
```

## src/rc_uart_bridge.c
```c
/*
 * Copyright (c) 2026
 *
 * SPDX-License-Identifier: LicenseRef-Nordic-5-Clause
 */

#include "rc_uart_config_bridge.h"

int rc_uart_bridge_init(void)
{
	return rc_uart_config_bridge_init();
}

struct uart_rc_link *rc_uart_bridge_link(void)
{
	return rc_uart_config_bridge_link();
}
```

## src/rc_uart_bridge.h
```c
/*
 * Copyright (c) 2026
 *
 * SPDX-License-Identifier: LicenseRef-Nordic-5-Clause
 */

#ifndef RC_UART_BRIDGE_H_
#define RC_UART_BRIDGE_H_

#include "uart_rc_link.h"

int rc_uart_bridge_init(void);
struct uart_rc_link *rc_uart_bridge_link(void);

#endif /* RC_UART_BRIDGE_H_ */
```
